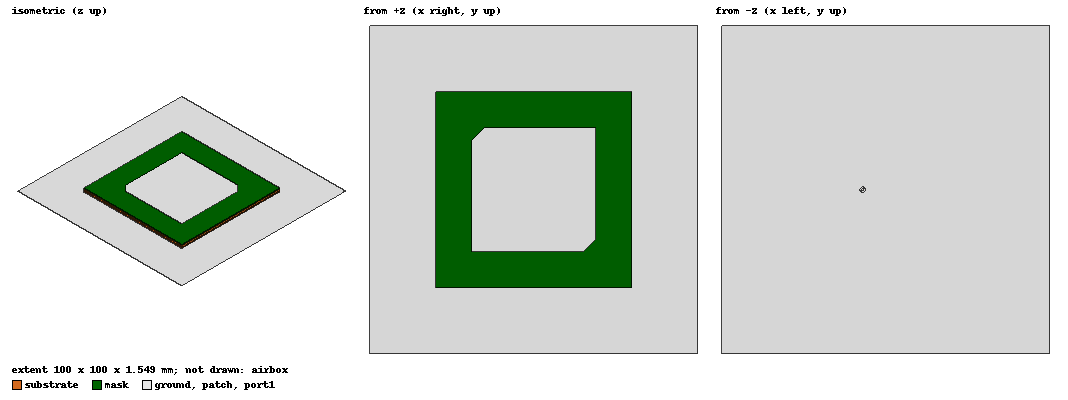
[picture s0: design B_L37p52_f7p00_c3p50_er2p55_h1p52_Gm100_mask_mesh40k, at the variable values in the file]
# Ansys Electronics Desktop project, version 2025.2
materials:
  vacuum: permittivity=1
  substrate_design: permittivity=2.55 permeability=1 dielectric_loss_tangent=0.0018
  solder_mask: permittivity=3.8 permeability=1 dielectric_loss_tangent=0.025
  copper: permeability=0.999991 conductivity=58000000
  pec: conductivity=1e+30

design B_L37p52_f7p00_c3p50_er2p55_h1p52_Gm100_mask_mesh40k (HFSS, HFSS Modal Network, model units mm)
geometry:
  substrate [substrate_design] = box(corner=(-30mm, -30mm, 0mm), size=(60mm, 60mm, 1.524mm))
  ground = rectangle(corner=(-50mm, -50mm, 0mm), x_size=100mm, y_size=100mm)
  hole1 = circle(normal=Z, centre=(7mm, 0mm, 0mm), radius=0.8mm)
  ground.subtract(hole1)
  patch = polyline(z=1.524mm, xy in mm: (-15.26, 18.76) (18.76, 18.76) (18.76, -15.26) (15.26, -18.76) (-18.76, -18.76) (-18.76, 15.26) (-15.26, 18.76), closed, covered)
  mask [solder_mask] = box(corner=(-30mm, -30mm, 1.524mm), size=(60mm, 60mm, 0.025mm))
  mask_opening = polyline(z=1.524mm, xy in mm: (-15.26, 18.76) (18.76, 18.76) (18.76, -15.26) (15.26, -18.76) (-18.76, -18.76) (-18.76, 15.26) (-15.26, 18.76), closed, covered)
  mask_opening.sweep_along_vector((0mm, 0mm, 0.025mm))
  mask.subtract(mask_opening)
  pin1 [pec] = cylinder(axis=Z, base_centre=(7mm, 0mm, 0mm), radius=0.25mm, height=1.524mm)
  pin1_1 = pin1.copy()
  substrate.subtract(pin1_1)
  port1 = circle(normal=Z, centre=(7mm, 0mm, 0mm), radius=0.8mm)
  inner1 = circle(normal=Z, centre=(7mm, 0mm, 0mm), radius=0.25mm)
  port1.subtract(inner1)
  airbox [vacuum] = box(corner=(-80.906439mm, -80.906439mm, -30.906439mm), size=(161.81288mm, 161.81288mm, 63.361878mm))
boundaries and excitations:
  Cu_sheets: Finite Conductivity Objects=[patch, ground] UseMaterial Material=copper Roughness=0mm IsInternal
  Rad__1TGIHA: Radiation Objects=airbox
  P1: Lumped Port Objects=port1 LumpedPortType=Modal Modes{Mode1{IntLine{(7.25, 0, 0) -> (7.8, 0, 0)} CharImp=Zpi RenormImp=50ohm}} Impedance=50ohm
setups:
  Setup1: HfssDriven Frequency=2.425GHz MaxDeltaS=1e-05 MaximumPasses=11 MinimumPasses=1 MinimumConvergedPasses=2 PercentRefinement=30 BasisOrder=1 PortAccuracy=2 DrivenSolverType="Direct Solver"
    sweep S: 2.2GHz to 2.65GHz, 901 points; Type=Interpolating InterpTolerance=0.5 InterpMaxSolns=250 InterpUsePortImped=false PassivityErrorTolerance=0.0001
    sweep FF: 2.395GHz to 2.455GHz step 0.0025GHz; Type=Discrete SaveFields
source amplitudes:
  P1:1: 1W 0deg
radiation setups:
  ff: Infinite Sphere Theta=-180deg..180deg step 2deg Phi=0deg..90deg step 90deg
